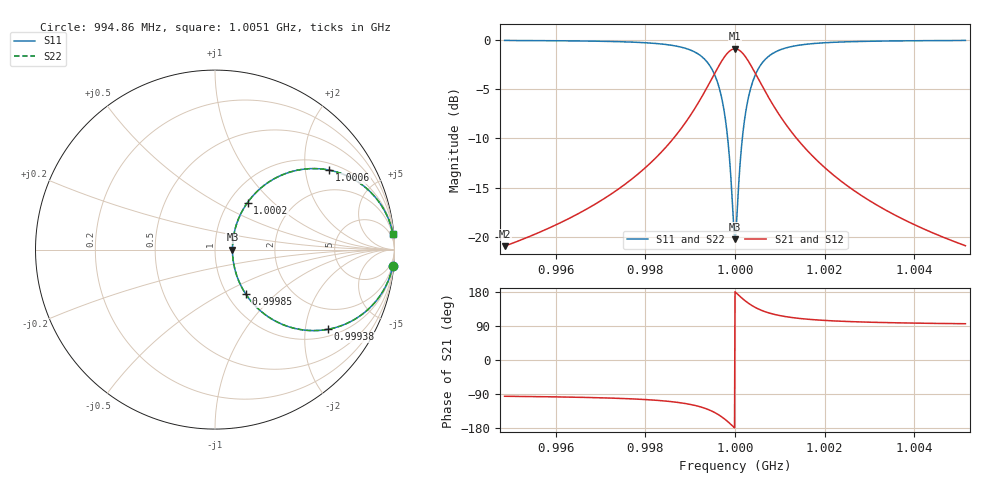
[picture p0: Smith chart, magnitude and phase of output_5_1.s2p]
! File generated for n1 = 5, n2 = 1
! b1 = 4.641589
! b2 = 4.641589
! Q0 = 10000.000000
! f0 = 1000000000.000000
! n = 1001
! rel_span = 10.000000
# Hz S RI R 50
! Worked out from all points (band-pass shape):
!   1001 points, 994.86 MHz to 1.0051 GHz, reference 50 ohm
!   highest |S21| = -0.89 dB at 1 GHz (marker M1); lowest = -21.0 dB at 994.86 MHz (marker M2)
!   |S21| within 3 dB of the highest: 999.4872 MHz to 1.000513 GHz (1.026 MHz wide, 0.103 % of centre)
!   lowest |S11| = -20.2 dB at 1 GHz (marker M3), VSWR 1.22, Z = 60.8 + j0 ohm
!   |S11| at or under -10 dB: 999.8369 MHz to 1.000163 GHz (326.2 kHz wide, 0.0326 % of centre)
!   |S22| runs from -20.2 to 0.0 dB; largest |S21 - S12| = 0
!   S11 on the Smith chart (normalised r, x): 994.86 MHz: 1, -22; 999.38 MHz: 1.22, -2.66; 999.85 MHz: 1.22, -0.66; 1.0002 GHz: 1.22, +0.71; 1.0006 GHz: 1.22, +2.70; 1.0051 GHz: 1, +22
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9.948584e8  0.9911 -0.0892  -0.00889 -0.0892  -0.00889 -0.0892  0.9911 -0.0892
9.965757e8  0.9802 -0.1323  -0.0198 -0.1323  -0.0198 -0.1323  0.9802 -0.1323
9.975218e8  0.9628 -0.1794  -0.0372 -0.1794  -0.0372 -0.1794  0.9628 -0.1794
9.98293e8  0.925 -0.2491  -0.075 -0.2491  -0.075 -0.2491  0.925 -0.2491
9.989511e8  0.8252 -0.3567  -0.1748 -0.3567  -0.1748 -0.3567  0.8252 -0.3567
9.991876e8  0.742 -0.4079  -0.258 -0.4079  -0.258 -0.4079  0.742 -0.4079
9.99383e8  0.6302 -0.444  -0.3698 -0.444  -0.3698 -0.444  0.6302 -0.444
9.996607e8  0.3712 -0.4151  -0.6288 -0.4151  -0.6288 -0.4151  0.3712 -0.4151
9.997635e8  0.2549 -0.3428  -0.7451 -0.3428  -0.7451 -0.3428  0.2549 -0.3428
9.998458e8  0.1718 -0.2485  -0.8282 -0.2485  -0.8282 -0.2485  0.1718 -0.2485
9.999589e8  0.103 -0.0718  -0.897 -0.0718  -0.897 -0.0718  0.103 -0.0718
1e9  0.0972 0  -0.9028 0  -0.9028 0  0.0972 0
1.000041e9  0.103 0.0718  -0.897 0.0718  -0.897 0.0718  0.103 0.0718
1.000165e9  0.1811 0.262  -0.8189 0.262  -0.8189 0.262  0.1811 0.262
1.000247e9  0.2663 0.3522  -0.7337 0.3522  -0.7337 0.3522  0.2663 0.3522
1.00035e9  0.3826 0.4197  -0.6174 0.4197  -0.6174 0.4197  0.3826 0.4197
1.000627e9  0.6371 0.4426  -0.3629 0.4426  -0.3629 0.4426  0.6371 0.4426
1.000823e9  0.7463 0.4058  -0.2537 0.4058  -0.2537 0.4058  0.7463 0.4058
1.001059e9  0.8277 0.3548  -0.1723 0.3548  -0.1723 0.3548  0.8277 0.3548
1.001717e9  0.9256 0.2482  -0.0744 0.2482  -0.0744 0.2482  0.9256 0.2482
1.003435e9  0.9801 0.1324  -0.0199 0.1324  -0.0199 0.1324  0.9801 0.1324
1.005142e9  0.991 0.0896  -0.00898 0.0896  -0.00898 0.0896  0.991 0.0896
